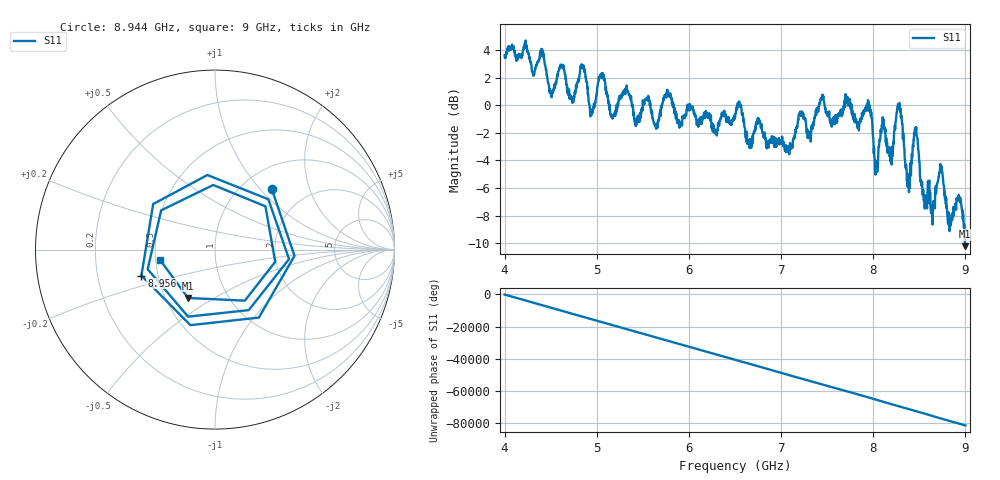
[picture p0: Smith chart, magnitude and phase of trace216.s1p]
! Created with skrf 1.8.0 (http://scikit-rf.org).
# Hz S RI R 50.0
!freq ReS11 ImS11
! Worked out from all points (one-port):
!   1601 points, 4 GHz to 9 GHz, reference 50 ohm
!   lowest |S11| = -10.2 dB at 8.997 GHz (marker M1), VSWR 1.89, Z = 32.4 - j19.3 ohm
!   |S11| at or under -10 dB: 8.995866 GHz to end of sweep
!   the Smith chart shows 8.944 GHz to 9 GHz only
!   S11 on the Smith chart (normalised r, x): 8.944 GHz: 1.35, +1.16; 8.956 GHz: 0.40, -0.14; 9 GHz: 0.53, -0.06
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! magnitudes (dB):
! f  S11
! 4 GHz  3.6
! 4.406 GHz  4.1
! 4.509 GHz  0.6
! 4.625 GHz  2.7
! 4.731 GHz  0.3
! 4.85 GHz  2.8
! 4.941 GHz  -0.5
! 5.053 GHz  2.1
! 5.169 GHz  -0.9
! 5.25 GHz  0.6
! 5.875 GHz  -1.2
! 6.5 GHz  -0.9
! 7.125 GHz  -3.1
! 7.441 GHz  0.5
! 7.75 GHz  0.0
! 7.953 GHz  0.2
! 8.031 GHz  -4.8
! 8.197 GHz  -3.0
! 8.284 GHz  0.2
! 8.375 GHz  -5.5
! 8.459 GHz  -1.6
! 8.559 GHz  -7.5
! 8.731 GHz  -4.5
! 8.825 GHz  -8.8
! 8.944 GHz  -6.7
! 8.956 GHz  -7.2
! 8.997 GHz  -10.2
! 9 GHz  -10.1
